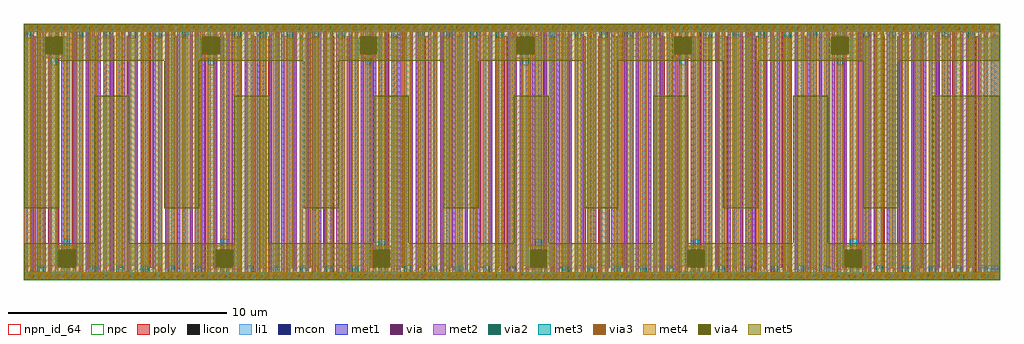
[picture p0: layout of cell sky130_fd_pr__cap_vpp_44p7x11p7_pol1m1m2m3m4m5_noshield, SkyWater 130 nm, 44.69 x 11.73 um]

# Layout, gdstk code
import gdstk
lib = gdstk.Library(unit=1e-6, precision=1e-09)
def R(c, l, rs):  # rectangles x0, y0, x1, y1
    for r in rs: c.add(gdstk.rectangle(r[:2], r[2:], *l))
def A(c, l, x, y, w, h, nx, ny, dx, dy):  # array of equal rectangles
    R(c, l, [(x+i*dx, y+j*dy, x+i*dx+w, y+j*dy+h) for i in range(nx) for j in range(ny)])
poly = (66, 20)
licon = (66, 44)
li1 = (67, 20)
mcon = (67, 44)
met1 = (68, 20)
via = (68, 44)
met2 = (69, 20)
via2 = (69, 44)
met3 = (70, 20)
via3 = (70, 44)
met4 = (71, 20)
via4 = (71, 44)
met5 = (72, 20)
npn_id_64 = (82, 64)
npc = (95, 20)

sky130_fd_pr__cap_vpp_44 = lib.new_cell('sky130_fd_pr__cap_vpp_44p7x11p7_pol1m1m2m3m4m5_noshield')
A(sky130_fd_pr__cap_vpp_44, poly, 0.36, 0.33, 0.15, 10.82, 61, 1, 0.72, 0)
A(sky130_fd_pr__cap_vpp_44, poly, 0, 0.54, 0.15, 10.82, 62, 1, 0.72, 0)
R(sky130_fd_pr__cap_vpp_44, poly, [(0,0,44.65,0.33), (44.28,0.33,44.65,11.15), (0,11.36,44.65,11.69)])
A(sky130_fd_pr__cap_vpp_44, licon, 0.17, 0.08, 0.17, 0.17, 130, 2, 0.34, 11.36)
A(sky130_fd_pr__cap_vpp_44, li1, 0, 0.33, 0.14, 10.89, 79, 1, 0.56, 0)
A(sky130_fd_pr__cap_vpp_44, li1, 0.28, 0.47, 0.14, 10.89, 79, 1, 0.56, 0)
R(sky130_fd_pr__cap_vpp_44, li1, [(0,0,44.65,0.33), (44.24,0.33,44.65,11.22), (0,11.36,44.65,11.69)])
A(sky130_fd_pr__cap_vpp_44, mcon, 0.19, 0.08, 0.17, 0.17, 123, 2, 0.36, 11.36)
A(sky130_fd_pr__cap_vpp_44, met1, 0.28, 0.33, 0.14, 10.89, 79, 1, 0.56, 0)
A(sky130_fd_pr__cap_vpp_44, met1, 0, 0.47, 0.14, 10.89, 79, 1, 0.56, 0)
R(sky130_fd_pr__cap_vpp_44, met1, [(0,0,44.65,0.33), (44.24,0.47,44.65,11.36), (0,11.36,44.65,11.69)])
R(sky130_fd_pr__cap_vpp_44, via, [(0.175,0.09,0.325,0.24), (0.495,0.09,0.645,0.24), (1.235,0.09,1.385,0.24), (1.555,0.09,1.705,0.24), (2.355,0.09,2.505,0.24), (2.675,0.09,2.825,0.24), (3.475,0.09,3.625,0.24), (3.795,0.09,3.945,0.24), (4.595,0.09,4.745,0.24), (4.915,0.09,5.065,0.24), (5.715,0.09,5.865,0.24), (6.035,0.09,6.185,0.24), (6.835,0.09,6.985,0.24), (7.155,0.09,7.305,0.24), (7.955,0.09,8.105,0.24), (8.275,0.09,8.425,0.24), (9.075,0.09,9.225,0.24), (9.395,0.09,9.545,0.24), (10.195,0.09,10.345,0.24), (10.515,0.09,10.665,0.24), (11.315,0.09,11.465,0.24), (11.635,0.09,11.785,0.24), (12.435,0.09,12.585,0.24), (12.755,0.09,12.905,0.24), (13.555,0.09,13.705,0.24), (13.875,0.09,14.025,0.24), (14.675,0.09,14.825,0.24), (14.995,0.09,15.145,0.24), (15.795,0.09,15.945,0.24), (16.115,0.09,16.265,0.24), (16.915,0.09,17.065,0.24), (17.235,0.09,17.385,0.24), (18.035,0.09,18.185,0.24), (18.355,0.09,18.505,0.24), (19.155,0.09,19.305,0.24), (19.475,0.09,19.625,0.24), (20.275,0.09,20.425,0.24), (20.595,0.09,20.745,0.24), (21.395,0.09,21.545,0.24), (21.715,0.09,21.865,0.24), (22.515,0.09,22.665,0.24), (22.835,0.09,22.985,0.24), (23.635,0.09,23.785,0.24), (23.955,0.09,24.105,0.24), (24.755,0.09,24.905,0.24), (25.075,0.09,25.225,0.24), (25.875,0.09,26.025,0.24), (26.195,0.09,26.345,0.24), (26.995,0.09,27.145,0.24), (27.315,0.09,27.465,0.24), (28.115,0.09,28.265,0.24), (28.435,0.09,28.585,0.24), (29.235,0.09,29.385,0.24), (29.555,0.09,29.705,0.24), (30.355,0.09,30.505,0.24), (30.675,0.09,30.825,0.24), (31.475,0.09,31.625,0.24), (31.795,0.09,31.945,0.24), (32.595,0.09,32.745,0.24), (32.915,0.09,33.065,0.24), (33.715,0.09,33.865,0.24), (34.035,0.09,34.185,0.24), (34.835,0.09,34.985,0.24), (35.155,0.09,35.305,0.24), (35.955,0.09,36.105,0.24), (36.275,0.09,36.425,0.24), (37.075,0.09,37.225,0.24), (37.395,0.09,37.545,0.24), (38.195,0.09,38.345,0.24), (38.515,0.09,38.665,0.24), (39.315,0.09,39.465,0.24), (39.635,0.09,39.785,0.24), (40.435,0.09,40.585,0.24), (40.755,0.09,40.905,0.24), (41.555,0.09,41.705,0.24), (41.875,0.09,42.025,0.24), (42.675,0.09,42.825,0.24), (42.995,0.09,43.145,0.24), (43.795,0.09,43.945,0.24), (44.115,0.09,44.265,0.24), (0.395,11.45,0.545,11.6), (0.715,11.45,0.865,11.6), (1.515,11.45,1.665,11.6), (1.835,11.45,1.985,11.6), (2.635,11.45,2.785,11.6), (2.955,11.45,3.105,11.6), (3.755,11.45,3.905,11.6), (4.075,11.45,4.225,11.6), (4.875,11.45,5.025,11.6), (5.195,11.45,5.345,11.6), (5.995,11.45,6.145,11.6), (6.315,11.45,6.465,11.6), (7.115,11.45,7.265,11.6), (7.435,11.45,7.585,11.6), (8.235,11.45,8.385,11.6), (8.555,11.45,8.705,11.6), (9.355,11.45,9.505,11.6), (9.675,11.45,9.825,11.6), (10.475,11.45,10.625,11.6), (10.795,11.45,10.945,11.6), (11.595,11.45,11.745,11.6), (11.915,11.45,12.065,11.6), (12.715,11.45,12.865,11.6), (13.035,11.45,13.185,11.6), (13.835,11.45,13.985,11.6), (14.155,11.45,14.305,11.6), (14.955,11.45,15.105,11.6), (15.275,11.45,15.425,11.6), (16.075,11.45,16.225,11.6), (16.395,11.45,16.545,11.6), (17.195,11.45,17.345,11.6), (17.515,11.45,17.665,11.6), (18.315,11.45,18.465,11.6), (18.635,11.45,18.785,11.6), (19.435,11.45,19.585,11.6), (19.755,11.45,19.905,11.6), (20.555,11.45,20.705,11.6), (20.875,11.45,21.025,11.6), (21.675,11.45,21.825,11.6), (21.995,11.45,22.145,11.6), (22.795,11.45,22.945,11.6), (23.115,11.45,23.265,11.6), (23.915,11.45,24.065,11.6), (24.235,11.45,24.385,11.6), (25.035,11.45,25.185,11.6), (25.355,11.45,25.505,11.6), (26.155,11.45,26.305,11.6), (26.475,11.45,26.625,11.6), (27.275,11.45,27.425,11.6), (27.595,11.45,27.745,11.6), (28.395,11.45,28.545,11.6), (28.715,11.45,28.865,11.6), (29.515,11.45,29.665,11.6), (29.835,11.45,29.985,11.6), (30.635,11.45,30.785,11.6), (30.955,11.45,31.105,11.6), (31.755,11.45,31.905,11.6), (32.075,11.45,32.225,11.6), (32.875,11.45,33.025,11.6), (33.195,11.45,33.345,11.6), (33.995,11.45,34.145,11.6), (34.315,11.45,34.465,11.6), (35.115,11.45,35.265,11.6), (35.435,11.45,35.585,11.6), (36.235,11.45,36.385,11.6), (36.555,11.45,36.705,11.6), (37.355,11.45,37.505,11.6), (37.675,11.45,37.825,11.6), (38.475,11.45,38.625,11.6), (38.795,11.45,38.945,11.6), (39.595,11.45,39.745,11.6), (39.915,11.45,40.065,11.6), (40.715,11.45,40.865,11.6), (41.035,11.45,41.185,11.6), (41.835,11.45,41.985,11.6), (42.155,11.45,42.305,11.6), (42.955,11.45,43.105,11.6), (43.275,11.45,43.425,11.6)])
A(sky130_fd_pr__cap_vpp_44, met2, 0, 0, 0.7, 0.33, 39, 1, 1.12, 0)
A(sky130_fd_pr__cap_vpp_44, met2, 0.84, 0, 0.14, 0.47, 39, 1, 1.12, 0)
A(sky130_fd_pr__cap_vpp_44, met2, 0, 0.33, 0.14, 10.89, 79, 1, 0.56, 0)
A(sky130_fd_pr__cap_vpp_44, met2, 0.28, 0.47, 0.14, 10.89, 79, 1, 0.56, 0)
A(sky130_fd_pr__cap_vpp_44, met2, 0, 11.22, 0.14, 0.47, 39, 1, 1.12, 0)
A(sky130_fd_pr__cap_vpp_44, met2, 0.28, 11.36, 0.7, 0.33, 39, 1, 1.12, 0)
R(sky130_fd_pr__cap_vpp_44, met2, [(43.68,0,44.65,0.33), (44.24,0.33,44.65,11.22), (43.54,11.36,44.65,11.69)])
A(sky130_fd_pr__cap_vpp_44, via2, 0.25, 0.065, 0.2, 0.2, 40, 1, 1.12, 0)
A(sky130_fd_pr__cap_vpp_44, via2, 0.53, 11.425, 0.2, 0.2, 39, 1, 1.12, 0)
A(sky130_fd_pr__cap_vpp_44, met3, 0.6, 0.33, 0.3, 10.73, 36, 1, 1.2, 0)
A(sky130_fd_pr__cap_vpp_44, met3, 0, 0.63, 0.3, 10.73, 37, 1, 1.2, 0)
R(sky130_fd_pr__cap_vpp_44, met3, [(0,0,44.65,0.33), (43.8,0.33,44.65,11.06), (0,11.36,44.65,11.69)])
A(sky130_fd_pr__cap_vpp_44, via3, 0.2, 0.065, 0.2, 0.2, 111, 2, 0.4, 11.36)
A(sky130_fd_pr__cap_vpp_44, met4, 1.2, 0.33, 0.3, 9.505, 6, 1, 7.2, 0)
A(sky130_fd_pr__cap_vpp_44, met4, 1.5, 0.33, 0.9, 0.045, 6, 1, 7.2, 0)
A(sky130_fd_pr__cap_vpp_44, met4, 2.4, 0.33, 0.3, 10.73, 5, 1, 1.2, 0)
A(sky130_fd_pr__cap_vpp_44, met4, 9.6, 0.33, 0.3, 10.73, 5, 1, 1.2, 0)
A(sky130_fd_pr__cap_vpp_44, met4, 16.8, 0.33, 0.3, 10.73, 5, 1, 1.2, 0)
A(sky130_fd_pr__cap_vpp_44, met4, 24, 0.33, 0.3, 10.73, 5, 1, 1.2, 0)
A(sky130_fd_pr__cap_vpp_44, met4, 31.2, 0.33, 0.3, 10.73, 5, 1, 1.2, 0)
A(sky130_fd_pr__cap_vpp_44, met4, 38.4, 0.33, 0.3, 10.73, 5, 1, 1.2, 0)
A(sky130_fd_pr__cap_vpp_44, met4, 1.36, 0.375, 1.18, 1.18, 6, 1, 7.2, 0)
A(sky130_fd_pr__cap_vpp_44, met4, 3, 0.63, 0.3, 10.73, 5, 1, 1.2, 0)
A(sky130_fd_pr__cap_vpp_44, met4, 10.2, 0.63, 0.3, 10.73, 5, 1, 1.2, 0)
A(sky130_fd_pr__cap_vpp_44, met4, 17.4, 0.63, 0.3, 10.73, 5, 1, 1.2, 0)
A(sky130_fd_pr__cap_vpp_44, met4, 24.6, 0.63, 0.3, 10.73, 5, 1, 1.2, 0)
A(sky130_fd_pr__cap_vpp_44, met4, 31.8, 0.63, 0.3, 10.73, 5, 1, 1.2, 0)
A(sky130_fd_pr__cap_vpp_44, met4, 39, 0.63, 0.3, 10.73, 4, 1, 1.2, 0)
A(sky130_fd_pr__cap_vpp_44, met4, 1.8, 1.855, 0.3, 9.505, 6, 1, 7.2, 0)
A(sky130_fd_pr__cap_vpp_44, met4, 0.76, 10.135, 1.18, 1.18, 6, 1, 7.2, 0)
A(sky130_fd_pr__cap_vpp_44, met4, 0.9, 11.315, 0.9, 0.045, 6, 1, 7.2, 0)
R(sky130_fd_pr__cap_vpp_44, met4, [(0,0,44.65,0.33), (0,0.33,0.3,11.06), (0.6,0.63,0.9,11.36), (43.8,0.63,44.65,11.36), (0,11.36,44.65,11.69)])
A(sky130_fd_pr__cap_vpp_44, via4, 1.55, 0.565, 0.8, 0.8, 6, 1, 7.2, 0)
A(sky130_fd_pr__cap_vpp_44, via4, 0.95, 10.325, 0.8, 0.8, 6, 1, 7.2, 0)
A(sky130_fd_pr__cap_vpp_44, met5, 1.24, 0.255, 1.42, 1.42, 6, 1, 7.2, 0)
A(sky130_fd_pr__cap_vpp_44, met5, 3.2, 1.675, 1.6, 6.74, 6, 1, 6.4, 0)
A(sky130_fd_pr__cap_vpp_44, met5, 0, 3.275, 1.6, 6.74, 7, 1, 6.4, 0)
A(sky130_fd_pr__cap_vpp_44, met5, 0.64, 10.015, 1.42, 1.42, 6, 1, 7.2, 0)
R(sky130_fd_pr__cap_vpp_44, met5, [(0,0,44.65,1.675), (41.6,1.675,44.65,8.415), (0,10.015,44.65,11.69)])
R(sky130_fd_pr__cap_vpp_44, npn_id_64, [(0.13,0.21,44.46,11.48)])
R(sky130_fd_pr__cap_vpp_44, npc, [(-0.02,-0.02,44.67,11.71)])

lib.write_gds('sky130_fd_pr__cap_vpp_44p7x11p7_pol1m1m2m3m4m5_noshield.gds')
